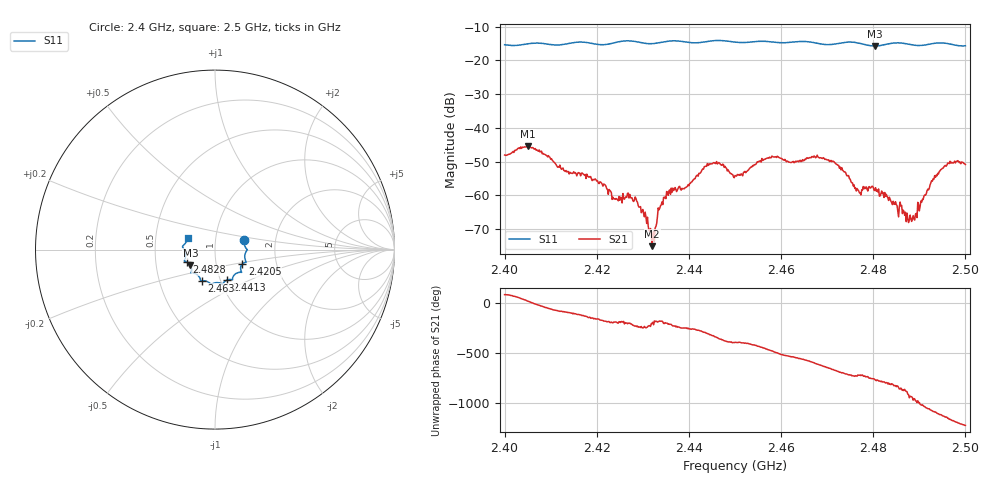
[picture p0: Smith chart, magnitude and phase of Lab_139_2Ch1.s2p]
# Hz S RI R 50
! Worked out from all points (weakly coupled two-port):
!   601 points, 2.4 GHz to 2.5 GHz, reference 50 ohm
!   highest |S21| = -45.44 dB at 2.405 GHz (marker M1); lowest = -75.1 dB at 2.432 GHz (marker M2)
!   lowest |S11| = -15.7 dB at 2.4803 GHz (marker M3), VSWR 1.39, Z = 37.4 - j6.8 ohm
!   |S11| at or under -10 dB: start of sweep to end of sweep
!   S12 and S22 are empty: the file has one direction only
!   S11 on the Smith chart (normalised r, x): 2.4 GHz: 1.38, +0.15; 2.4205 GHz: 1.34, -0.22; 2.4413 GHz: 1.08, -0.38; 2.463 GHz: 0.82, -0.29; 2.4828 GHz: 0.72, -0.10; 2.5 GHz: 0.73, +0.10
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2.4e9  0.1626 0.0527  0.000129 0.00395  0 0  0 0
2.405e9  0.1763 0.00387  0.00493 0.00208  0 0  0 0
2.416667e9  0.1736 -0.0696  -0.000992 -0.00189  0 0  0 0
2.4205e9  0.1516 -0.0808  -0.00139 -0.000548  0 0  0 0
2.4285e9  0.1418 -0.1263  -0.000627 0.000647  0 0  0 0
2.432e9  0.1081 -0.1404  -0.000164 6.39e-05  0 0  0 0
2.433333e9  0.1001 -0.1517  -0.00065 3.26e-05  0 0  0 0
2.435667e9  0.0978 -0.1669  -0.00105 0.000522  0 0  0 0
2.441333e9  0.0674 -0.1695  -0.00033 0.00173  0 0  0 0
2.4455e9  0.0427 -0.1916  0.0027 0.00143  0 0  0 0
2.45e9  0.0245 -0.1852  0.0017 -0.000994  0 0  0 0
2.457667e9  -0.0283 -0.1871  -0.00126 -0.00338  0 0  0 0
2.463e9  -0.0723 -0.1737  -0.00309 8.21e-05  0 0  0 0
2.466667e9  -0.0812 -0.1674  -0.00249 0.0028  0 0  0 0
2.471667e9  -0.1151 -0.1317  0.002 0.00228  0 0  0 0
2.476833e9  -0.1314 -0.1242  0.00116 -3.03e-05  0 0  0 0
2.480333e9  -0.1373 -0.0885  0.000852 -0.000813  0 0  0 0
2.482833e9  -0.1587 -0.07  0.000279 -0.000996  0 0  0 0
2.483333e9  -0.1627 -0.0684  0.000174 -0.000821  0 0  0 0
2.488667e9  -0.1644 -0.0395  -0.000166 0.000471  0 0  0 0
2.495e9  -0.1807 0.0185  0.0017 -0.00185  0 0  0 0
2.5e9  -0.1517 0.0642  -0.00234 -0.00164  0 0  0 0
